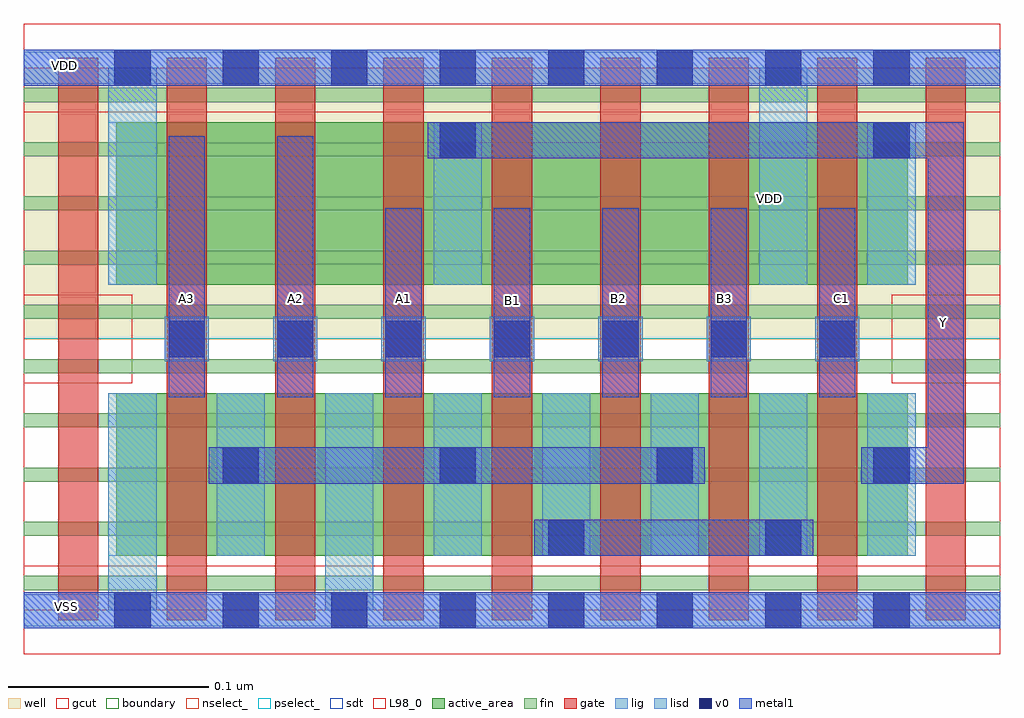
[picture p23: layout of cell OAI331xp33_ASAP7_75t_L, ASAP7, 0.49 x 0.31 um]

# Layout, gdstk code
import gdstk
lib = gdstk.Library(unit=1e-6, precision=2.5e-10)
def R(c, l, rs):  # rectangles x0, y0, x1, y1
    for r in rs: c.add(gdstk.rectangle(r[:2], r[2:], *l))
def A(c, l, x, y, w, h, nx, ny, dx, dy):  # array of equal rectangles
    R(c, l, [(x+i*dx, y+j*dy, x+i*dx+w, y+j*dy+h) for i in range(nx) for j in range(ny)])
def P(c, l, *ps):  # polygons
    for p in ps: c.add(gdstk.Polygon(p, *l))
well = (1, 0)
fin = (2, 0)
gate = (7, 0)
gcut = (10, 0)
active_area = (11, 0)
nselect_ = (12, 0)
pselect_ = (13, 0)
lig = (16, 0)
lisd = (17, 0)
v0 = (18, 0)
metal1 = (19, 0)
sdt = (88, 0)
L98_0 = (98, 0)
boundary = (100, 0)

oai331xp33_asap7_75t_l = lib.new_cell('OAI331xp33_ASAP7_75t_L')
R(oai331xp33_asap7_75t_l, well, [(0,0.135,0.486,0.27)])
A(oai331xp33_asap7_75t_l, fin, 0, 0.01, 0.486, 0.007, 1, 10, 0, 0.027)
A(oai331xp33_asap7_75t_l, gate, 0.017, -0.005, 0.02, 0.28, 9, 1, 0.054, 0)
R(oai331xp33_asap7_75t_l, gate, [(0.449,-0.005,0.469,0.275), (0.449,-0.005,0.469,0.275)])
R(oai331xp33_asap7_75t_l, gcut, [(0,-0.022,0.098,0.022), (0,-0.022,0.486,0.022), (0.442,-0.022,0.486,0.022), (0,0.113,0.054,0.157), (0.432,0.113,0.486,0.157), (0,0.248,0.098,0.292), (0,0.248,0.486,0.292), (0.442,0.248,0.486,0.292)])
R(oai331xp33_asap7_75t_l, active_area, [(0.046,0.027,0.44,0.108), (0.046,0.162,0.44,0.243)])
R(oai331xp33_asap7_75t_l, nselect_, [(0,0,0.486,0.135)])
R(oai331xp33_asap7_75t_l, pselect_, [(0,0.135,0.486,0.27)])
A(oai331xp33_asap7_75t_l, lig, 0.07, 0.124, 0.022, 0.022, 7, 1, 0.054, 0)
R(oai331xp33_asap7_75t_l, lig, [(0,-0.008,0.486,0.008), (0,0.262,0.486,0.278)])
A(oai331xp33_asap7_75t_l, lisd, 0.204, 0.027, 0.024, 0.081, 5, 1, 0.054, 0)
R(oai331xp33_asap7_75t_l, lisd, [(0.042,0,0.066,0.108), (0.15,0,0.174,0.108), (0.096,0.027,0.12,0.108), (0.42,0.027,0.444,0.108), (0.042,0.162,0.066,0.27), (0.204,0.162,0.228,0.243), (0.366,0.162,0.39,0.27), (0.42,0.162,0.444,0.243)])
A(oai331xp33_asap7_75t_l, v0, 0.045, -0.009, 0.018, 0.018, 8, 2, 0.054, 0.27)
A(oai331xp33_asap7_75t_l, v0, 0.099, 0.063, 0.018, 0.018, 4, 1, 0.108, 0)
A(oai331xp33_asap7_75t_l, v0, 0.072, 0.126, 0.018, 0.018, 7, 1, 0.054, 0)
R(oai331xp33_asap7_75t_l, v0, [(0.423,-0.009,0.441,0.009), (0.261,0.027,0.279,0.045), (0.369,0.027,0.387,0.045), (0.207,0.225,0.225,0.243), (0.423,0.225,0.441,0.243), (0.423,0.261,0.441,0.279)])
A(oai331xp33_asap7_75t_l, metal1, 0.18, 0.106, 0.018, 0.094, 5, 1, 0.054, 0)
R(oai331xp33_asap7_75t_l, metal1, [(0,-0.009,0.486,0.009), (0.254,0.027,0.393,0.045), (0.092,0.063,0.339,0.081), (0.072,0.106,0.09,0.236), (0.126,0.106,0.144,0.236), (0,0.261,0.486,0.279)])
P(oai331xp33_asap7_75t_l, metal1, [(0.468,0.243),(0.201,0.243),(0.201,0.225),(0.45,0.225),(0.45,0.081),(0.417,0.081),(0.417,0.063),(0.468,0.063)])
A(oai331xp33_asap7_75t_l, sdt, 0.042, 0.027, 0.024, 0.081, 8, 1, 0.054, 0)
A(oai331xp33_asap7_75t_l, sdt, 0.042, 0.162, 0.024, 0.081, 3, 1, 0.162, 0)
R(oai331xp33_asap7_75t_l, sdt, [(0.42,0.027,0.444,0.108), (0.42,0.162,0.444,0.243)])
R(oai331xp33_asap7_75t_l, L98_0, [(0,0,0.486,0.27)])
R(oai331xp33_asap7_75t_l, boundary, [(0,0,0.486,0.27)])
oai331xp33_asap7_75t_l.add(gdstk.Label('VDD', (0.02,0.271), layer=19, texttype=251))
oai331xp33_asap7_75t_l.add(gdstk.Label('VSS', (0.021,0.002), layer=19, texttype=251))
oai331xp33_asap7_75t_l.add(gdstk.Label('C1', (0.407,0.155), layer=19, texttype=251))
oai331xp33_asap7_75t_l.add(gdstk.Label('B3', (0.349,0.155), layer=19, texttype=251))
oai331xp33_asap7_75t_l.add(gdstk.Label('B2', (0.296,0.155), layer=19, texttype=251))
oai331xp33_asap7_75t_l.add(gdstk.Label('B1', (0.243,0.154), layer=19, texttype=251))
oai331xp33_asap7_75t_l.add(gdstk.Label('A1', (0.189,0.155), layer=19, texttype=251))
oai331xp33_asap7_75t_l.add(gdstk.Label('A2', (0.135,0.155), layer=19, texttype=251))
oai331xp33_asap7_75t_l.add(gdstk.Label('A3', (0.081,0.155), layer=19, texttype=251))
oai331xp33_asap7_75t_l.add(gdstk.Label('Y', (0.458,0.143), layer=19, texttype=251))
oai331xp33_asap7_75t_l.add(gdstk.Label('VDD', (0.371,0.205), layer=1, texttype=251))
oai331xp33_asap7_75t_l.add(gdstk.Label('VSS', (0.312,-0.046), layer=3, texttype=251))

lib.write_gds('OAI331xp33_ASAP7_75t_L.gds')
